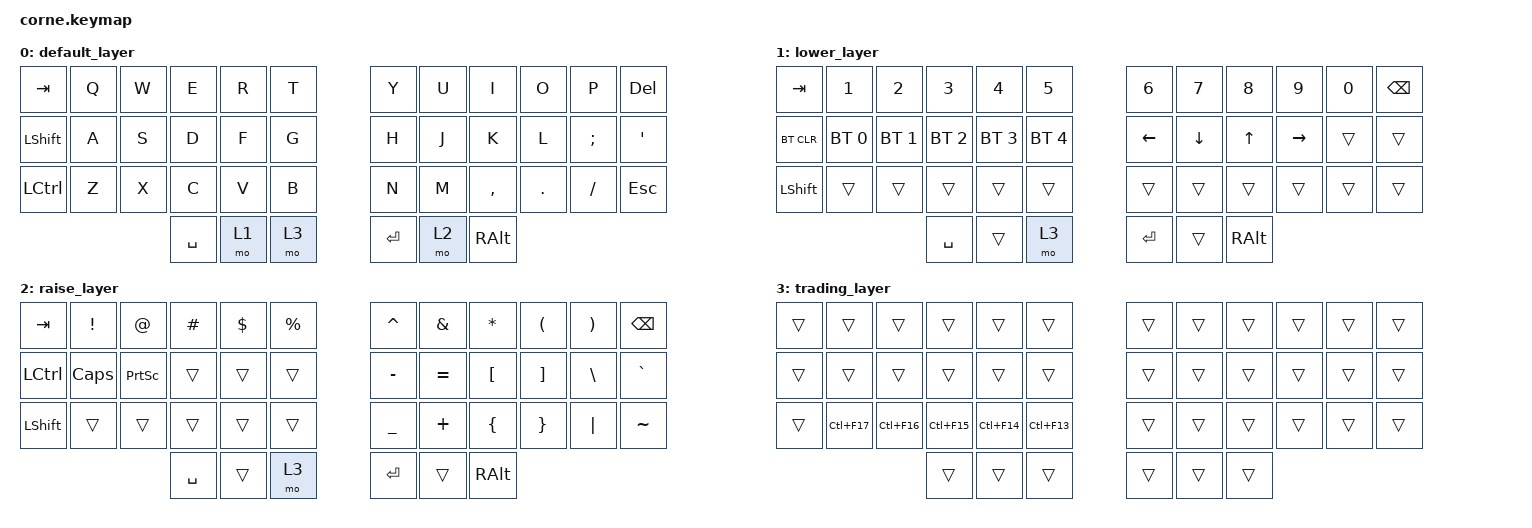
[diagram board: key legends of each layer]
/*
 * Copyright (c) 2020 The ZMK Contributors
 *
 * SPDX-License-Identifier: MIT
 */

#include <behaviors.dtsi>
#include <dt-bindings/zmk/keys.h>
#include <dt-bindings/zmk/bt.h>

/ {
        keymap {
                compatible = "zmk,keymap";

                default_layer {
// -----------------------------------------------------------------------------------------
// |  TAB |  Q  |  W  |  E  |  R  |  T  |   |  Y  |  U   |  I  |  O  |  P  | DEL  |
// | SHFT |  A  |  S  |  D  |  F  |  G  |   |  H  |  J   |  K  |  L  |  ;  |  '   |
// | CTRL |  Z  |  X  |  C  |  V  |  B  |   |  N  |  M   |  ,  |  .  |  /  | ESC  |
//                    | SPC | LWR | TRD |   | ENT | RSE  | ALT |
                        bindings = <
   &kp TAB   &kp Q &kp W &kp E &kp R &kp T   &kp Y &kp U  &kp I     &kp O   &kp P    &kp DEL
   &kp LSHFT &kp A &kp S &kp D &kp F &kp G   &kp H &kp J  &kp K     &kp L   &kp SEMI &kp SQT
   &kp LCTRL &kp Z &kp X &kp C &kp V &kp B   &kp N &kp M  &kp COMMA &kp DOT &kp FSLH &kp ESC
                  &kp SPACE &mo 1 &mo 3      &kp RET &mo 2 &kp RALT
                        >;
                };

                lower_layer {
// -----------------------------------------------------------------------------------------
// |  TAB |  1  |  2  |  3  |  4  |  5  |   |  6  |  7  |  8  |  9  |  0  | BSPC |
// | BTCLR| BT1 | BT2 | BT3 | BT4 | BT5 |   | LFT | DWN |  UP | RGT |     |      |
// | SHFT |     |     |     |     |     |   |     |     |     |     |     |      |
//                    | SPC |     | TRD |   | ENT |     | ALT |
                        bindings = <
   &kp TAB    &kp N1       &kp N2       &kp N3       &kp N4       &kp N5         &kp N6   &kp N7   &kp N8 &kp N9    &kp N0 &kp BSPC
   &bt BT_CLR &bt BT_SEL 0 &bt BT_SEL 1 &bt BT_SEL 2 &bt BT_SEL 3 &bt BT_SEL 4   &kp LEFT &kp DOWN &kp UP &kp RIGHT &trans &trans
   &kp LSHFT  &trans       &trans       &trans       &trans       &trans         &trans   &trans   &trans &trans    &trans &trans
                                    &kp SPACE     &trans       &mo 3      &kp RET  &trans   &kp RALT
                        >;
                };

                raise_layer {
// -----------------------------------------------------------------------------------------
// |  TAB |  !  |  @  |  #  |  $  |  %  |   |  ^  |  &  |  *  |  (  |  )  | BSPC |
// | CTRL | CAPS| PSCR|     |     |     |   |  -  |  =  |  [  |  ]  |  \  |  `   |
// | SHFT |     |     |     |     |     |   |  _  |  +  |  {  |  }  | "|" |  ~   |
//                    | SPC |     | TRD |   | ENT |     | ALT |
                        bindings = <
   &kp  TAB  &kp EXCL &kp AT    &kp HASH &kp DLLR &kp PRCNT   &kp CARET &kp AMPS  &kp ASTRK &kp LPAR &kp RPAR &kp BSPC
   &kp LCTRL &kp CAPS &kp PSCRN  &trans   &trans   &trans      &kp MINUS &kp EQUAL &kp LBKT  &kp RBKT &kp BSLH &kp GRAVE
   &kp LSHFT &trans   &trans    &trans   &trans   &trans      &kp UNDER &kp PLUS  &kp LBRC  &kp RBRC &kp PIPE &kp TILDE
                             &kp SPACE &trans   &mo 3         &kp RET   &trans    &kp RALT
                        >;
                };

                trading_layer {
// -----------------------------------------------------------------------------------------
// |      |     |     |     |     |     |   |     |     |     |     |     |      |
// |      |     |     |     |     |     |   |     |     |     |     |     |      |
// |      |C-F17|C-F16|C-F15|C-F14|C-F13|   |     |     |     |     |     |      |
//                    |     |     |     |   |     |     |     |
                        bindings = <
   &trans &trans &trans &trans &trans &trans   &trans &trans &trans &trans &trans &trans
   &trans &trans &trans &trans &trans &trans   &trans &trans &trans &trans &trans &trans
   &trans &kp LC(F17) &kp LC(F16) &kp LC(F15) &kp LC(F14) &kp LC(F13)   &trans &trans &trans &trans &trans &trans
                  &trans &trans &trans        &trans &trans &trans
                        >;
                };
        };
};
